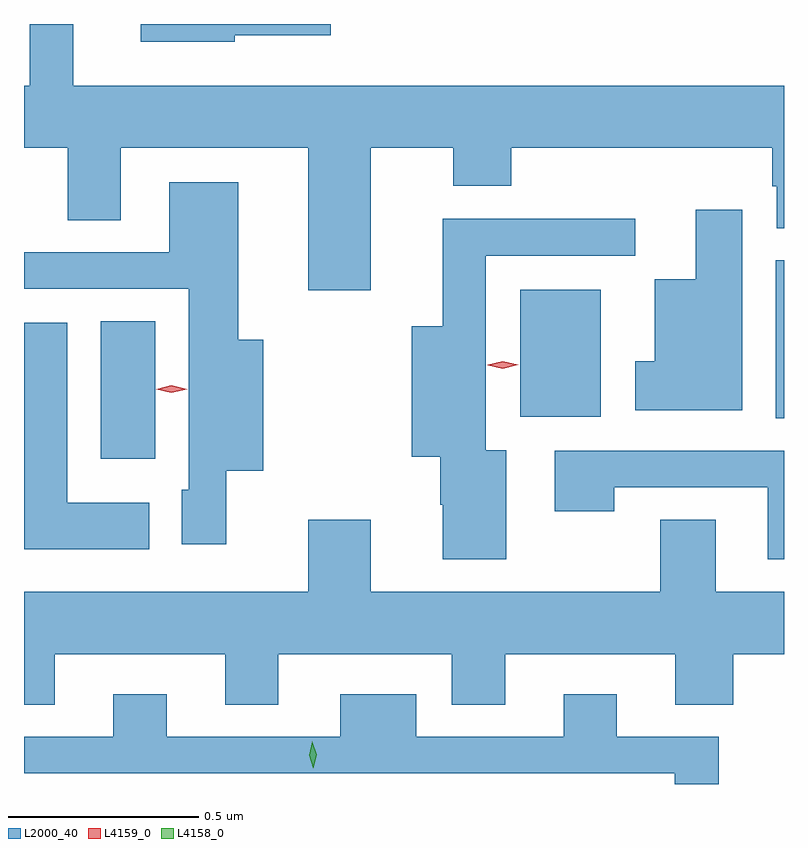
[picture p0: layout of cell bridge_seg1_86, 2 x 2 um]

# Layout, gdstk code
import gdstk
lib = gdstk.Library(unit=1e-6, precision=1e-09)
def R(c, l, rs):  # rectangles x0, y0, x1, y1
    for r in rs: c.add(gdstk.rectangle(r[:2], r[2:], *l))
def P(c, l, *ps):  # polygons
    for p in ps: c.add(gdstk.Polygon(p, *l))
L2000_40 = (2000, 40)
L4158_0 = (4158, 0)
L4159_0 = (4159, 0)

bridge_seg1_86 = lib.new_cell('bridge_seg1_86')
R(bridge_seg1_86, L2000_40, [(560.066,518.946,560.209,519.308), (561.842,519.052,561.864,519.468), (561.17,519.056,561.382,519.391)])
P(bridge_seg1_86, L2000_40, [(560.776,519.764),(560.993,519.764),(560.993,519.665),(561.146,519.665),(561.146,519.764),(561.833,519.764),(561.833,519.663),(561.845,519.663),(561.845,519.553),(561.864,519.553),(561.864,519.928),(559.993,519.928),(559.993,520.09),(559.879,520.09),(559.879,519.928),(559.864,519.928),(559.864,519.764),(559.979,519.764),(559.979,519.574),(560.119,519.574),(560.119,519.764),(560.612,519.764),(560.612,519.39),(560.776,519.39)],
  [(560.418,520.061),(560.671,520.061),(560.671,520.09),(560.171,520.09),(560.171,520.043),(560.418,520.043)],
  [(560.396,518.915),(560.494,518.915),(560.494,519.259),(560.428,519.259),(560.428,519.673),(560.246,519.673),(560.246,519.489),(559.864,519.489),(559.864,519.393),(560.297,519.393),(560.297,519.155),(560.298,519.155),(560.298,518.865),(560.279,518.865),(560.279,518.721),(560.396,518.721)],
  [(561.754,519.601),(561.632,519.601),(561.632,519.418),(561.524,519.418),(561.524,519.202),(561.473,519.202),(561.473,519.074),(561.754,519.074)],
  [(561.133,518.968),(561.079,518.968),(561.079,519.48),(561.472,519.48),(561.472,519.578),(560.966,519.578),(560.966,519.295),(560.885,519.295),(560.885,518.951),(560.959,518.951),(560.959,518.825),(560.966,518.825),(560.966,518.682),(561.133,518.682)],
  [(560.194,518.83),(559.978,518.83),(559.978,519.304),(559.864,519.304),(559.864,518.708),(560.194,518.708)],
  [(561.864,518.967),(561.261,518.967),(561.261,518.808),(561.417,518.808),(561.417,518.871),(561.821,518.871),(561.821,518.682),(561.864,518.682)],
  [(559.945,518.432),(560.393,518.432),(560.393,518.299),(560.533,518.299),(560.533,518.432),(560.99,518.432),(560.99,518.299),(561.13,518.299),(561.13,518.432),(561.578,518.432),(561.578,518.299),(561.731,518.299),(561.731,518.432),(561.864,518.432),(561.864,518.596),(561.685,518.596),(561.685,518.786),(561.538,518.786),(561.538,518.596),(560.776,518.596),(560.776,518.785),(560.612,518.785),(560.612,518.596),(559.864,518.596),(559.864,518.299),(559.945,518.299)],
  [(561.692,518.214),(561.424,518.214),(561.424,518.326),(561.284,518.326),(561.284,518.214),(560.896,518.214),(560.896,518.326),(560.696,518.326),(560.696,518.214),(560.239,518.214),(560.239,518.326),(560.099,518.326),(560.099,518.214),(559.864,518.214),(559.864,518.118),(561.576,518.118),(561.576,518.09),(561.692,518.09)])
P(bridge_seg1_86, L4158_0, [(560.625,518.131),(560.625,518.131),(560.614,518.166),(560.622,518.201),(560.622,518.202),(560.622,518.201),(560.634,518.167),(560.625,518.131)])
P(bridge_seg1_86, L4159_0, [(560.252,519.119),(560.212,519.129),(560.212,519.129),(560.212,519.129),(560.252,519.139),(560.293,519.129),(560.293,519.129),(560.293,519.129)],
  [(561.124,519.183),(561.084,519.192),(561.084,519.192),(561.084,519.193),(561.124,519.203),(561.165,519.193),(561.165,519.193),(561.165,519.193)])

lib.write_gds('bridge_seg1_86.gds')
